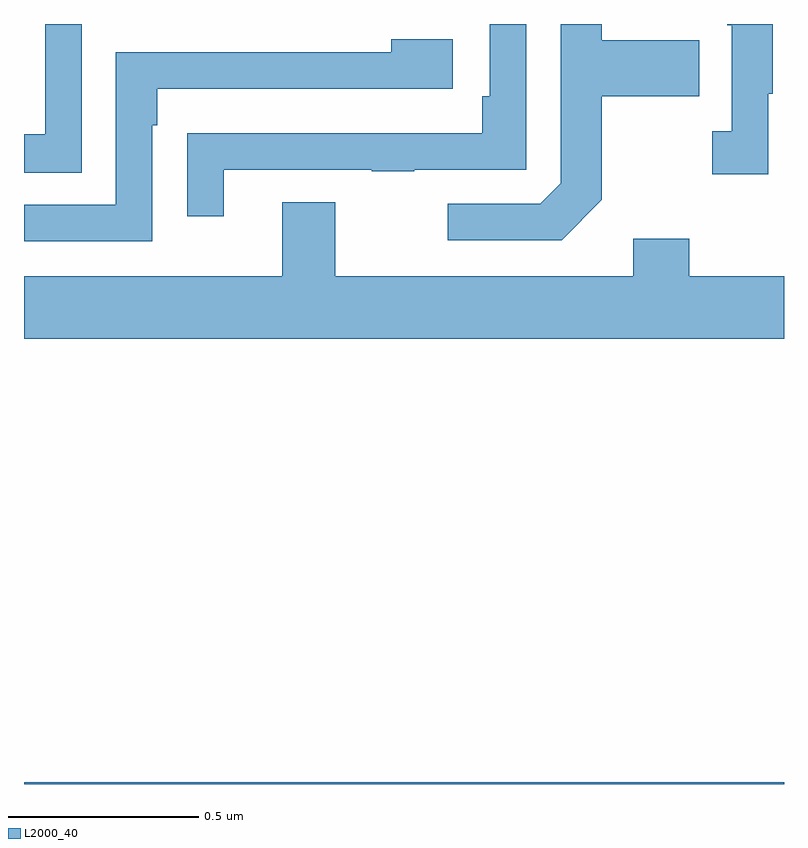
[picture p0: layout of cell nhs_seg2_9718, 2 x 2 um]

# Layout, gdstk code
import gdstk
lib = gdstk.Library(unit=1e-6, precision=1e-09)
def R(c, l, rs):  # rectangles x0, y0, x1, y1
    for r in rs: c.add(gdstk.rectangle(r[:2], r[2:], *l))
def P(c, l, *ps):  # polygons
    for p in ps: c.add(gdstk.Polygon(p, *l))
L2000_40 = (2000, 40)

nhs_seg2_9718 = lib.new_cell('nhs_seg2_9718')
R(nhs_seg2_9718, L2000_40, [(232,643.8,234,643.804)])
P(nhs_seg2_9718, L2000_40, [(232.152,645.8),(232.056,645.8),(232.056,645.51),(232,645.51),(232,645.409),(232.152,645.409)],
  [(233.959,645.617),(233.971,645.617),(233.971,645.8),(233.85,645.8),(233.85,645.797),(233.862,645.797),(233.862,645.518),(233.811,645.518),(233.811,645.405),(233.959,645.405)],
  [(233.521,645.337),(233.521,645.61),(233.777,645.61),(233.777,645.757),(233.521,645.757),(233.521,645.8),(233.412,645.8),(233.412,645.381),(233.358,645.327),(233.115,645.327),(233.115,645.231),(233.415,645.231)],
  [(232.525,645.417),(232.915,645.417),(232.915,645.412),(233.027,645.412),(233.027,645.417),(233.322,645.417),(233.322,645.8),(233.226,645.8),(233.226,645.61),(233.206,645.61),(233.206,645.513),(232.531,645.513),(232.531,645.512),(232.429,645.512),(232.429,645.294),(232.525,645.294)],
  [(232.338,645.533),(232.351,645.533),(232.351,645.63),(233.128,645.63),(233.128,645.76),(232.967,645.76),(232.967,645.726),(232.242,645.726),(232.242,645.324),(232,645.324),(232,645.228),(232.338,645.228)],
  [(234,645.136),(233.751,645.136),(233.751,645.235),(233.603,645.235),(233.603,645.136),(232.819,645.136),(232.819,645.331),(232.679,645.331),(232.679,645.136),(232,645.136),(232,644.972),(234,644.972)])

lib.write_gds('nhs_seg2_9718.gds')
